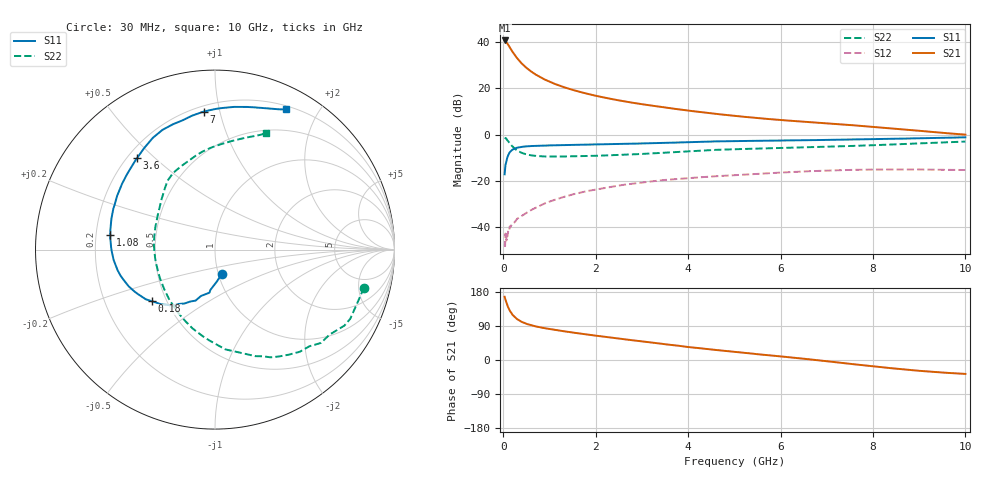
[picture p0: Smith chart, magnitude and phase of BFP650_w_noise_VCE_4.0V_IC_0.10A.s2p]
! Infineon Technologies  Discrete & RF Semiconductors
! BFP650
! VCE =  4.0 V,  IC = 0.10 A
! Common Emitter S-Parameters:  Jan 2016
# GHz  S  MA  R  50
!  f  S11  S21  S12  S22
! GHz  MAG  ANG  MAG  ANG  MAG  ANG  MAG  ANG
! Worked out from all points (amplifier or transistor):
!   229 points, 30 MHz to 10 GHz, reference 50 ohm
!   highest |S21| = 40.7 dB at 30 MHz (marker M1)
!   |S21| within 3 dB of that: start of sweep to 142.1 MHz
!   unconditionally stable (mu >= 1): 1.22 GHz to end of sweep
!   at 280 MHz: K = 0.66, MSG = 35.3 dB, |S12| = -37.0 dB
!   at 1.78 GHz: K = 1.02, MAG = 20.3 dB, |S12| = -24.5 dB
!   at 10 GHz: K = 1.03, MAG = 6.7 dB, |S12| = -15.3 dB
!   lowest NFmin = 1.42 dB at 450 MHz
!   S11 on the Smith chart (normalised r, x): 30 MHz: 1.04, -0.28; 180 MHz: 0.42, -0.30; 1.08 GHz: 0.26, +0.06; 3.6 GHz: 0.24, +0.44; 7 GHz: 0.24, +0.89; 10 GHz: 0.24, +1.61
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0.03  0.1391 -73.7  108.6 166.9  0.0043 86.0  0.8566 -14.3
0.04  0.1776 -86.5  107.5 162.5  0.0039 77.3  0.8472 -20.3
0.05  0.2267 -96.6  104.4 158.4  0.0073 41.4  0.8464 -27.1
0.07  0.2698 -106.8  99.64 151.0  0.0052 65.7  0.7943 -36.7
0.1  0.3455 -119.6  90.28 141.1  0.0072 63.8  0.7397 -50.3
0.14  0.4146 -132.1  77.48 130.7  0.0104 62.9  0.6529 -65.6
0.18  0.454 -140.6  66.82 123.5  0.0113 62.4  0.5842 -77.7
0.2  0.4745 -144.3  62.03 119.4  0.0122 61.4  0.5587 -84.1
0.26  0.5061 -152.6  50.85 111.8  0.0133 56.8  0.4891 -97.7
0.3  0.5225 -156.9  44.92 107.8  0.0152 61.0  0.457 -105.8
0.4  0.5456 -164.5  34.56 100.6  0.0176 60.4  0.4054 -121.0
0.5  0.5585 -170.0  27.92 95.5  0.0204 61.4  0.3768 -132.7
0.7  0.5734 -177.8  19.96 88.7  0.0263 63.0  0.3487 -149.8
1.08  0.5885 172.2  12.93 80.3  0.0382 62.4  0.3371 -169.8
1.7  0.607 159.9  8.19 69.3  0.0569 58.0  0.3439 170.6
3.4  0.6607 133.3  3.989 43.3  0.1026 39.3  0.4036 138.0
3.6  0.6695 130.5  3.742 40.3  0.1071 37.0  0.4146 135.2
5.1  0.7296 112.7  2.494 20.4  0.1351 21.2  0.4883 117.6
6.8  0.765 96.7  1.82 -0.5  0.1648 3.7  0.5431 99.1
7  0.7716 94.7  1.764 -3.3  0.1678 1.4  0.5501 97.4
8.4  0.8144 77.4  1.365 -21.7  0.1766 -14.2  0.6135 80.9
10  0.8763 63.0  1.002 -36.7  0.1724 -27.1  0.7099 66.2
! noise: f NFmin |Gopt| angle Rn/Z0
0.45  1.42  0.56  -171  0.06
0.9  1.44  0.58  -164  0.06
1.9  1.59  0.59  -150  0.09
2.4  1.69  0.57  -141  0.13
3.5  1.87  0.58  -118  0.25
